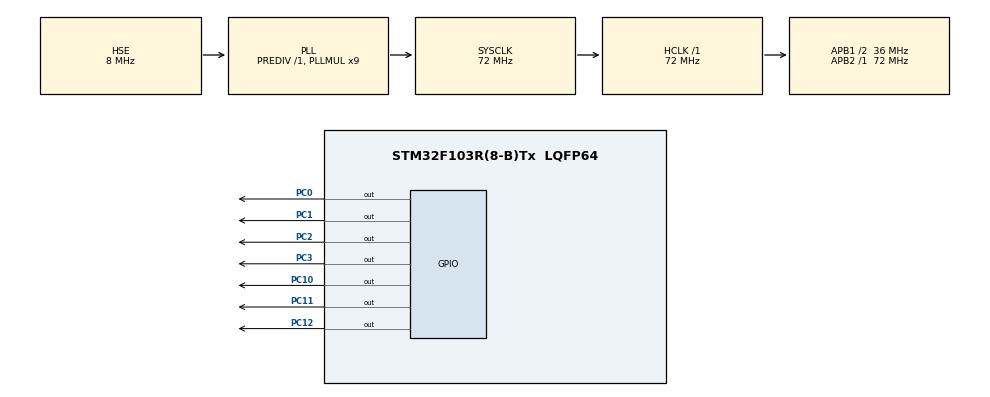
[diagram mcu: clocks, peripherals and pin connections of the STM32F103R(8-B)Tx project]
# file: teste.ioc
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Mcu.Family=STM32F1
Mcu.Name=STM32F103R(8-B)Tx
Mcu.Package=LQFP64
NVIC.PriorityGroup=NVIC_PRIORITYGROUP_4
PA13.Mode=Trace_Asynchronous_SW
PA13.Signal=SYS_JTMS-SWDIO
PA14.Mode=Trace_Asynchronous_SW
PA14.Signal=SYS_JTCK-SWCLK
PB3.Mode=Trace_Asynchronous_SW
PB3.Signal=SYS_JTDO-TRACESWO
PC0.Signal=GPIO_Output
PC1.Signal=GPIO_Output
PC10.Signal=GPIO_Output
PC11.Signal=GPIO_Output
PC12.Signal=GPIO_Output
PC2.Signal=GPIO_Output
PC3.Signal=GPIO_Output
PD0-OSC_IN.Mode=HSE-External-Oscillator
PD0-OSC_IN.Signal=RCC_OSC_IN
PD1-OSC_OUT.Mode=HSE-External-Oscillator
PD1-OSC_OUT.Signal=RCC_OSC_OUT
ProjectManager.HeapSize=0x200
ProjectManager.StackSize=0x400
ProjectManager.TargetToolchain=MDK-ARM V5
RCC.AHBFreq_Value=72000000
RCC.APB1CLKDivider=RCC_HCLK_DIV2
RCC.APB1Freq_Value=36000000
RCC.APB1TimFreq_Value=72000000
RCC.APB2Freq_Value=72000000
RCC.APB2TimFreq_Value=72000000
RCC.HCLKFreq_Value=72000000
RCC.PLLMUL=RCC_PLL_MUL9
RCC.PLLSourceVirtual=RCC_PLLSOURCE_HSE
RCC.SYSCLKFreq_VALUE=72000000
RCC.SYSCLKSource=RCC_SYSCLKSOURCE_PLLCLK
RCC.USBFreq_Value=72000000
board=teste

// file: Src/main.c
/**
  ******************************************************************************
  * File Name          : main.c
  * Description        : Main program body
  ******************************************************************************
  ** This notice applies to any and all portions of this file
  * that are not between comment pairs USER CODE BEGIN and
  * USER CODE END. Other portions of this file, whether
  * inserted by the user or by software development tools
  * are owned by their respective copyright owners.
  *
  * COPYRIGHT(c) 2017 STMicroelectronics
  *
  * Redistribution and use in source and binary forms, with or without modification,
  * are permitted provided that the following conditions are met:
  *   1. Redistributions of source code must retain the above copyright notice,
  *      this list of conditions and the following disclaimer.
  *   2. Redistributions in binary form must reproduce the above copyright notice,
  *      this list of conditions and the following disclaimer in the documentation
  *      and/or other materials provided with the distribution.
  *   3. Neither the name of STMicroelectronics nor the names of its contributors
  *      may be used to endorse or promote products derived from this software
  *      without specific prior written permission.
  *
  * THIS SOFTWARE IS PROVIDED BY THE COPYRIGHT HOLDERS AND CONTRIBUTORS "AS IS"
  * AND ANY EXPRESS OR IMPLIED WARRANTIES, INCLUDING, BUT NOT LIMITED TO, THE
  * IMPLIED WARRANTIES OF MERCHANTABILITY AND FITNESS FOR A PARTICULAR PURPOSE ARE
  * DISCLAIMED. IN NO EVENT SHALL THE COPYRIGHT HOLDER OR CONTRIBUTORS BE LIABLE
  * FOR ANY DIRECT, INDIRECT, INCIDENTAL, SPECIAL, EXEMPLARY, OR CONSEQUENTIAL
  * DAMAGES (INCLUDING, BUT NOT LIMITED TO, PROCUREMENT OF SUBSTITUTE GOODS OR
  * SERVICES; LOSS OF USE, DATA, OR PROFITS; OR BUSINESS INTERRUPTION) HOWEVER
  * CAUSED AND ON ANY THEORY OF LIABILITY, WHETHER IN CONTRACT, STRICT LIABILITY,
  * OR TORT (INCLUDING NEGLIGENCE OR OTHERWISE) ARISING IN ANY WAY OUT OF THE USE
  * OF THIS SOFTWARE, EVEN IF ADVISED OF THE POSSIBILITY OF SUCH DAMAGE.
  *
  ******************************************************************************
  */
#include "main.h"
#include "stm32f1xx_hal.h"

/* USER CODE BEGIN Includes */
#include "LiquidCrystal.h"
/* USER CODE END Includes */

/* USER CODE BEGIN PV */
/* Private variables ---------------------------------------------------------*/

/* USER CODE END PV */

void SystemClock_Config(void);
static void MX_GPIO_Init(void);

/* USER CODE BEGIN PFP */
/* Private function prototypes -----------------------------------------------*/

/* USER CODE END PFP */

int main(void)
{

  /* MCU Configuration----------------------------------------------------------*/

  /* Reset of all peripherals, Initializes the Flash interface and the Systick. */
  HAL_Init();

  /* Configure the system clock */
  SystemClock_Config();

  /* Initialize all configured peripherals */
  MX_GPIO_Init();

  /* USER CODE BEGIN 2 */
	LCD_pins pinos;
	pinos.rs.GPIOx = GPIOC;
	pinos.rs.GPIO_Pin = GPIO_PIN_12;
	pinos.rw.GPIOx = GPIOC;
	pinos.rw.GPIO_Pin = GPIO_PIN_11;
	pinos.en.GPIOx = GPIOC;
	pinos.en.GPIO_Pin = GPIO_PIN_10;
	pinos.data[0].GPIOx = GPIOC;
	pinos.data[0].GPIO_Pin = GPIO_PIN_3;
	pinos.data[1].GPIOx = GPIOC;
	pinos.data[1].GPIO_Pin = GPIO_PIN_2;
	pinos.data[2].GPIOx = GPIOC;
	pinos.data[2].GPIO_Pin = GPIO_PIN_1;
	pinos.data[3].GPIOx = GPIOC;
	pinos.data[3].GPIO_Pin = GPIO_PIN_0;

	begin(pinos);
	int txt[] = {100, 101, 100, 111, 32, 110, 111, 32, 99, 117, 32, 101, 32, 103, 114, 105, 116, 97, 114, 105, 97};
  /* USER CODE END 2 */

  /* Infinite loop */
  while (1)
  {
	for(int i = 0; i < sizeof(txt)/sizeof(int); i ++){
		write(txt[i] ,pinos);
	}
	HAL_Delay(10000);
	clear(pinos);
  }

}

/** System Clock Configuration
*/
void SystemClock_Config(void)
{

  RCC_OscInitTypeDef RCC_OscInitStruct;
  RCC_ClkInitTypeDef RCC_ClkInitStruct;

    /**Initializes the CPU, AHB and APB busses clocks
    */
  RCC_OscInitStruct.OscillatorType = RCC_OSCILLATORTYPE_HSE;
  RCC_OscInitStruct.HSEState = RCC_HSE_ON;
  RCC_OscInitStruct.HSEPredivValue = RCC_HSE_PREDIV_DIV1;
  RCC_OscInitStruct.HSIState = RCC_HSI_ON;
  RCC_OscInitStruct.PLL.PLLState = RCC_PLL_ON;
  RCC_OscInitStruct.PLL.PLLSource = RCC_PLLSOURCE_HSE;
  RCC_OscInitStruct.PLL.PLLMUL = RCC_PLL_MUL9;
  if (HAL_RCC_OscConfig(&RCC_OscInitStruct) != HAL_OK)
  {
    _Error_Handler(__FILE__, __LINE__);
  }

    /**Initializes the CPU, AHB and APB busses clocks
    */
  RCC_ClkInitStruct.ClockType = RCC_CLOCKTYPE_HCLK|RCC_CLOCKTYPE_SYSCLK
                              |RCC_CLOCKTYPE_PCLK1|RCC_CLOCKTYPE_PCLK2;
  RCC_ClkInitStruct.SYSCLKSource = RCC_SYSCLKSOURCE_PLLCLK;
  RCC_ClkInitStruct.AHBCLKDivider = RCC_SYSCLK_DIV1;
  RCC_ClkInitStruct.APB1CLKDivider = RCC_HCLK_DIV2;
  RCC_ClkInitStruct.APB2CLKDivider = RCC_HCLK_DIV1;

  if (HAL_RCC_ClockConfig(&RCC_ClkInitStruct, FLASH_LATENCY_2) != HAL_OK)
  {
    _Error_Handler(__FILE__, __LINE__);
  }

    /**Configure the Systick interrupt time
    */
  HAL_SYSTICK_Config(HAL_RCC_GetHCLKFreq()/1000);

    /**Configure the Systick
    */
  HAL_SYSTICK_CLKSourceConfig(SYSTICK_CLKSOURCE_HCLK);

  /* SysTick_IRQn interrupt configuration */
  HAL_NVIC_SetPriority(SysTick_IRQn, 0, 0);
}

/** Configure pins as
        * Analog
        * Input
        * Output
        * EVENT_OUT
        * EXTI
*/
static void MX_GPIO_Init(void)
{

  GPIO_InitTypeDef GPIO_InitStruct;

  /* GPIO Ports Clock Enable */
  __HAL_RCC_GPIOD_CLK_ENABLE();
  __HAL_RCC_GPIOC_CLK_ENABLE();
  __HAL_RCC_GPIOA_CLK_ENABLE();
  __HAL_RCC_GPIOB_CLK_ENABLE();

  /*Configure GPIO pin Output Level */
  HAL_GPIO_WritePin(GPIOC, GPIO_PIN_0|GPIO_PIN_1|GPIO_PIN_2|GPIO_PIN_3
                          |GPIO_PIN_10|GPIO_PIN_11|GPIO_PIN_12, GPIO_PIN_RESET);

  /*Configure GPIO pins : PC0 PC1 PC2 PC3
                           PC10 PC11 PC12 */
  GPIO_InitStruct.Pin = GPIO_PIN_0|GPIO_PIN_1|GPIO_PIN_2|GPIO_PIN_3
                          |GPIO_PIN_10|GPIO_PIN_11|GPIO_PIN_12;
  GPIO_InitStruct.Mode = GPIO_MODE_OUTPUT_PP;
  GPIO_InitStruct.Speed = GPIO_SPEED_FREQ_LOW;
  HAL_GPIO_Init(GPIOC, &GPIO_InitStruct);

}

void _Error_Handler(char * file, int line)
{
  while(1)
  {
  }
}

/************************ (C) COPYRIGHT STMicroelectronics *****END OF FILE****/
